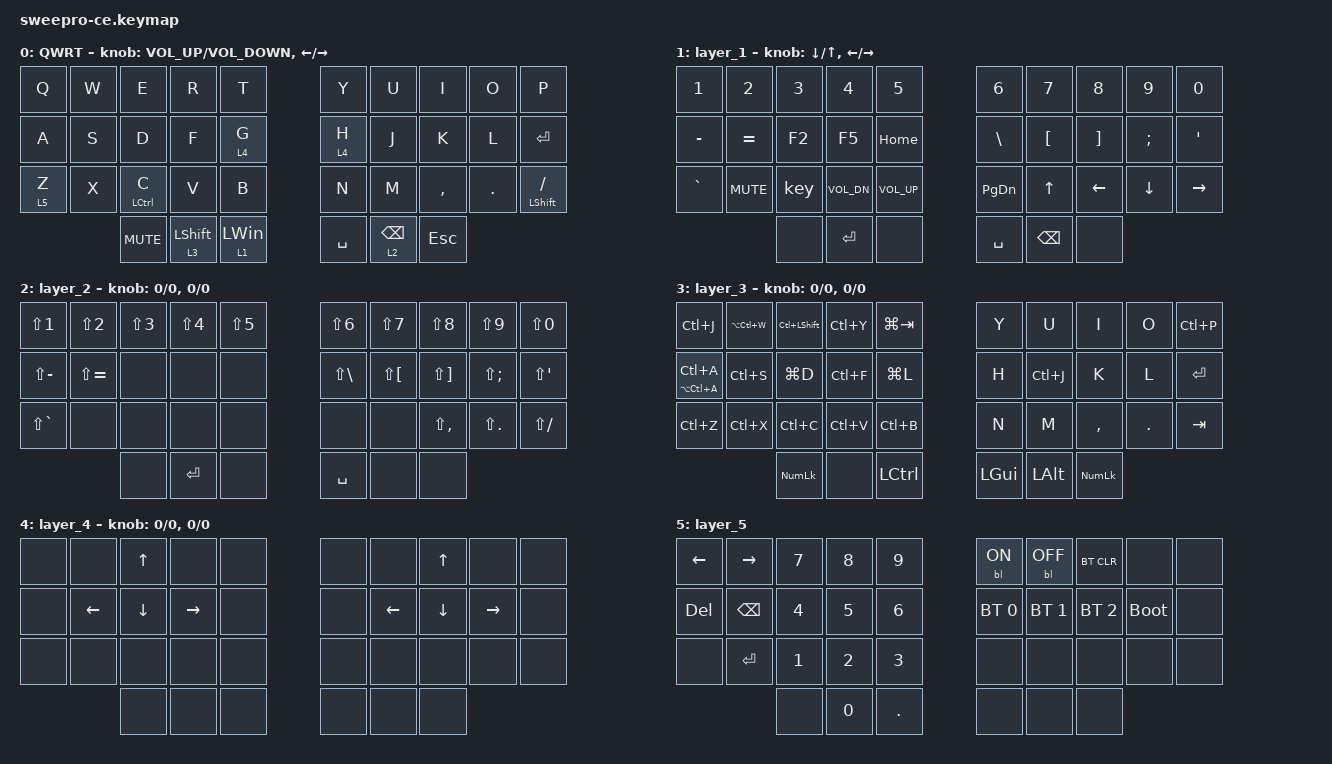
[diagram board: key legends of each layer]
/*
 * Copyright (c) 2020 The ZMK Contributors
 *
 * SPDX-License-Identifier: MIT
 */
/*
 * Copyright (c) 2020 The ZMK Contributors
 *
 * SPDX-License-Identifier: MIT
 */

#include <behaviors.dtsi>
#include <dt-bindings/zmk/backlight.h>
#include <dt-bindings/zmk/bt.h>
#include <dt-bindings/zmk/keys.h>

#define DEFAULT 0
#define COLEMAK 1
#define NUM     2
#define SYM     3
#define FUN     4

&mt {
    flavor = "tap-preferred";
    tapping_term_ms = <350>;
};

/ {
    combos {
        compatible = "zmk,combos";

        esc {
            bindings = <&kp ESC>;
            key-positions = <0 1>;
        };

        bs {
            bindings = <&kp BACKSPACE>;
            key-positions = <8 9>;
        };

        win {
            bindings = <&kp LEFT_WIN>;
            key-positions = <32 31>;
        };

        del {
            bindings = <&kp DELETE>;
            key-positions = <10 11>;
        };

        caps {
            bindings = <&kp CAPSLOCK>;
            key-positions = <20 21>;
        };

        tab {
            bindings = <&kp TAB>;
            key-positions = <29 28>;
        };

        enter {
            bindings = <&kp ENTER>;
            key-positions = <18 19>;
        };

        pageup {
            bindings = <&kp PG_UP>;
            key-positions = <6 7>;
        };

        pagedown {
            bindings = <&kp PAGE_DOWN>;
            key-positions = <16 17>;
        };

        home {
            bindings = <&kp HOME>;
            key-positions = <2 3>;
        };

        end {
            bindings = <&kp END>;
            key-positions = <12 13>;
        };
    };

    macros {
        key: key {
            compatible = "zmk,behavior-macro";
            #binding-cells = <0>;
            bindings = <&kp LS(C) &kp H &kp L &kp DOT &kp N8 &kp N8 &kp N0 &kp N6 &kp N0 &kp N2 &kp LS(N7) &kp LS(N8) &kp LS(N9) &kp ENTER>;
            label = "KEY";
        };
    };

    keymap {
        compatible = "zmk,keymap";

        default_layer {
            label = "QWRT";
            bindings = <
  &kp Q       &kp W        &kp E           &kp R      &kp T            &kp Y    &kp U  &kp I      &kp O       &kp P
  &kp A       &kp S        &kp D           &kp F      &lt 4 G          &lt 4 H  &kp J  &kp K      &kp L       &kp ENTER
  &lt 5 Z     &kp X        &mt LCTRL C     &kp V      &kp B            &kp N    &kp M  &kp COMMA  &kp PERIOD  &mt LSHIFT SLASH
  &kp C_MUTE  &lt 3 LSHFT  &lt 1 LEFT_WIN  &kp SPACE  &lt 2 BACKSPACE  &kp ESC
            >;

            sensor-bindings =
                <&inc_dec_kp C_VOLUME_UP C_VOLUME_DOWN>,
                <&inc_dec_kp LEFT RIGHT_ARROW>;
        };

        layer_1 {
            bindings = <
  &kp NUMBER_1  &kp NUMBER_2  &kp NUMBER_3  &kp NUMBER_4  &kp NUMBER_5     &kp NUMBER_6   &kp NUMBER_7      &kp NUMBER_8       &kp NUMBER_9    &kp NUMBER_0
  &kp MINUS     &kp EQUAL     &kp F2        &kp F5        &kp HOME         &kp BSLH       &kp LEFT_BRACKET  &kp RIGHT_BRACKET  &kp SEMICOLON   &kp SQT
  &kp GRAVE     &kp K_MUTE    &key          &kp C_VOL_DN  &kp C_VOLUME_UP  &kp PAGE_DOWN  &kp UP_ARROW      &kp LEFT_ARROW     &kp DOWN_ARROW  &kp RIGHT_ARROW
  &none         &kp ENTER     &none         &kp SPACE     &kp BACKSPACE    &none
            >;

            sensor-bindings =
                <&inc_dec_kp DOWN UP_ARROW>,
                <&inc_dec_kp LEFT RIGHT_ARROW>;
        };

        layer_2 {
            bindings = <
  &kp LS(NUMBER_1)  &kp LS(NUMBER_2)  &kp LS(NUMBER_3)  &kp LS(NUMBER_4)  &kp LS(NUMBER_5)  &kp LS(NUMBER_6)  &kp LS(NUMBER_7)      &kp LS(NUMBER_8)       &kp LS(NUMBER_9)   &kp LS(NUMBER_0)
  &kp LS(MINUS)     &kp LS(EQUAL)     &none             &none             &none             &kp LS(BSLH)      &kp LS(LEFT_BRACKET)  &kp LS(RIGHT_BRACKET)  &kp LS(SEMICOLON)  &kp LS(SQT)
  &kp LS(GRAVE)     &none             &none             &none             &none             &none             &none                 &kp LS(COMMA)          &kp LS(PERIOD)     &kp LS(SLASH)
  &none             &kp ENTER         &none             &kp SPACE         &none             &none
            >;

            sensor-bindings = <&inc_dec_kp 0 0>, <&inc_dec_kp 0 0>;
        };

        layer_3 {
            bindings = <
  &kp LC(J)            &kp LA(LC(W))  &kp LC(LEFT_SHIFT)  &kp LC(Y)  &kp LG(TAB)  &kp Y           &kp U      &kp I      &kp O    &kp LC(P)
  &mt LA(LC(A)) LC(A)  &kp LC(S)      &kp LG(D)           &kp LC(F)  &kp LG(L)    &kp H           &kp LC(J)  &kp K      &kp L    &kp ENTER
  &kp LC(Z)            &kp LC(X)      &kp LC(C)           &kp LC(V)  &kp LC(B)    &kp N           &kp M      &kp COMMA  &kp DOT  &kp TAB
  &kp KP_NUMLOCK       &none          &kp LCTRL           &kp LGUI   &kp LALT     &kp KP_NUMLOCK
            >;

            sensor-bindings = <&inc_dec_kp 0 0>, <&inc_dec_kp 0 0>;
        };

        layer_4 {
            bindings = <
  &none  &none           &kp UP_ARROW    &none            &none  &none  &none     &kp UP_ARROW    &none      &none
  &none  &kp LEFT_ARROW  &kp DOWN_ARROW  &kp RIGHT_ARROW  &none  &none  &kp LEFT  &kp DOWN_ARROW  &kp RIGHT  &none
  &none  &none           &none           &none            &none  &none  &none     &none           &none      &none
  &none  &none           &none           &none            &none  &none
            >;

            sensor-bindings = <&inc_dec_kp 0 0>, <&inc_dec_kp 0 0>;
        };

        layer_5 {
            bindings = <
  &kp LEFT_ARROW  &kp RIGHT_ARROW  &kp NUMBER_7  &kp NUMBER_8  &kp NUMBER_9  &bl BL_ON     &bl BL_OFF    &bt BT_CLR    &none        &none
  &kp DEL         &kp BACKSPACE    &kp NUMBER_4  &kp NUMBER_5  &kp NUMBER_6  &bt BT_SEL 0  &bt BT_SEL 1  &bt BT_SEL 2  &bootloader  &none
  &none           &kp ENTER        &kp NUMBER_1  &kp NUMBER_2  &kp NUMBER_3  &none         &none         &none         &none        &none
  &none           &kp NUMBER_0     &kp PERIOD    &none         &none         &none
            >;
        };
    };
};
